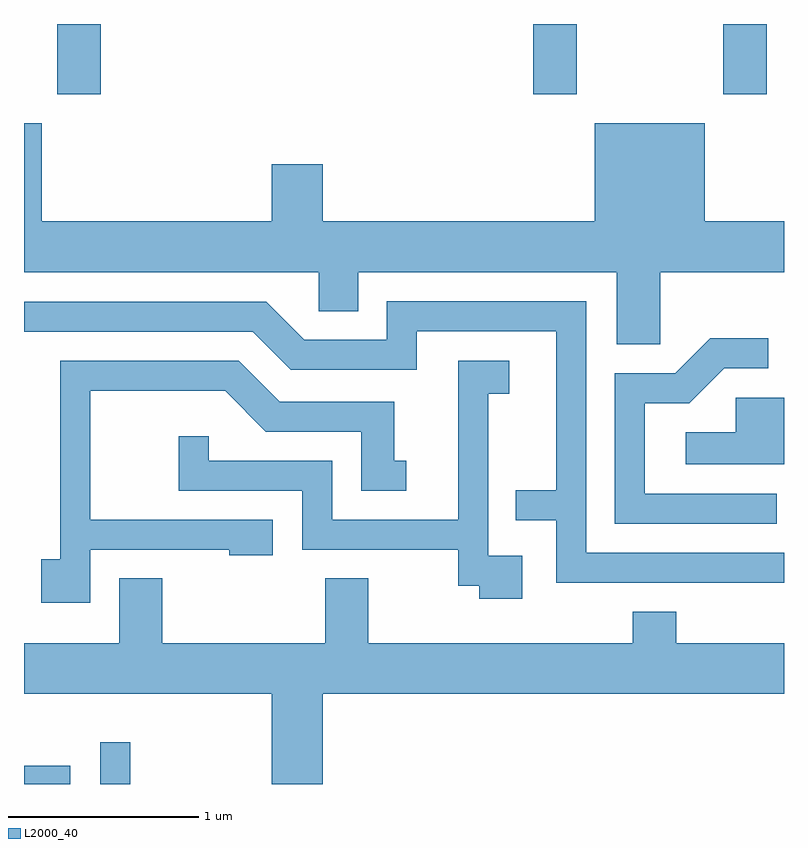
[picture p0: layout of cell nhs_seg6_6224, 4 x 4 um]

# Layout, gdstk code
import gdstk
lib = gdstk.Library(unit=1e-6, precision=1e-09)
def R(c, l, rs):  # rectangles x0, y0, x1, y1
    for r in rs: c.add(gdstk.rectangle(r[:2], r[2:], *l))
def P(c, l, *ps):  # polygons
    for p in ps: c.add(gdstk.Polygon(p, *l))
L2000_40 = (2000, 40)

nhs_seg6_6224 = lib.new_cell('nhs_seg6_6224')
R(nhs_seg6_6224, L2000_40, [(373.611,1616.162,373.854,1616.259), (374.011,1616.162,374.169,1616.383), (373.786,1619.791,374.014,1620.162), (376.291,1619.791,376.519,1620.162), (377.291,1619.791,377.519,1620.162)])
P(nhs_seg6_6224, L2000_40, [(376.959,1618.856),(377.611,1618.856),(377.611,1619.124),(377.194,1619.124),(377.194,1619.639),(376.616,1619.639),(376.616,1619.124),(375.184,1619.124),(375.184,1619.424),(374.916,1619.424),(374.916,1619.124),(373.704,1619.124),(373.704,1619.639),(373.611,1619.639),(373.611,1618.856),(375.161,1618.856),(375.161,1618.651),(375.369,1618.651),(375.369,1618.856),(376.731,1618.856),(376.731,1618.476),(376.959,1618.476)],
  [(377.611,1617.379),(376.569,1617.379),(376.569,1618.704),(375.521,1618.704),(375.521,1618.499),(375.087,1618.499),(374.887,1618.699),(373.611,1618.699),(373.611,1618.541),(374.814,1618.541),(375.014,1618.341),(375.679,1618.341),(375.679,1618.546),(376.411,1618.546),(376.411,1617.709),(376.198,1617.709),(376.198,1617.551),(376.411,1617.551),(376.411,1617.221),(377.611,1617.221)],
  [(377.573,1617.689),(376.879,1617.689),(376.879,1618.166),(377.112,1618.166),(377.297,1618.351),(377.528,1618.351),(377.528,1618.509),(377.224,1618.509),(377.039,1618.324),(376.721,1618.324),(376.721,1617.531),(377.573,1617.531)],
  [(376.234,1617.364),(376.054,1617.364),(376.054,1618.216),(376.164,1618.216),(376.164,1618.389),(375.896,1618.389),(375.896,1617.554),(375.234,1617.554),(375.234,1617.864),(374.584,1617.864),(374.584,1617.993),(374.426,1617.993),(374.426,1617.706),(375.076,1617.706),(375.076,1617.396),(375.896,1617.396),(375.896,1617.206),(376.006,1617.206),(376.006,1617.136),(376.234,1617.136)],
  [(373.959,1617.396),(374.691,1617.396),(374.691,1617.366),(374.919,1617.366),(374.919,1617.554),(373.959,1617.554),(373.959,1618.231),(374.669,1618.231),(374.884,1618.016),(375.386,1618.016),(375.386,1617.706),(375.623,1617.706),(375.623,1617.864),(375.559,1617.864),(375.559,1618.174),(374.957,1618.174),(374.742,1618.389),(373.801,1618.389),(373.801,1617.344),(373.701,1617.344),(373.701,1617.116),(373.959,1617.116)],
  [(377.611,1618.194),(377.356,1618.194),(377.356,1618.014),(377.093,1618.014),(377.093,1617.846),(377.611,1617.846)],
  [(375.184,1616.636),(377.611,1616.636),(377.611,1616.904),(377.044,1616.904),(377.044,1617.069),(376.816,1617.069),(376.816,1616.904),(375.424,1616.904),(375.424,1617.244),(375.196,1617.244),(375.196,1616.904),(374.339,1616.904),(374.339,1617.244),(374.111,1617.244),(374.111,1616.904),(373.611,1616.904),(373.611,1616.636),(374.916,1616.636),(374.916,1616.162),(375.184,1616.162)])

lib.write_gds('nhs_seg6_6224.gds')
